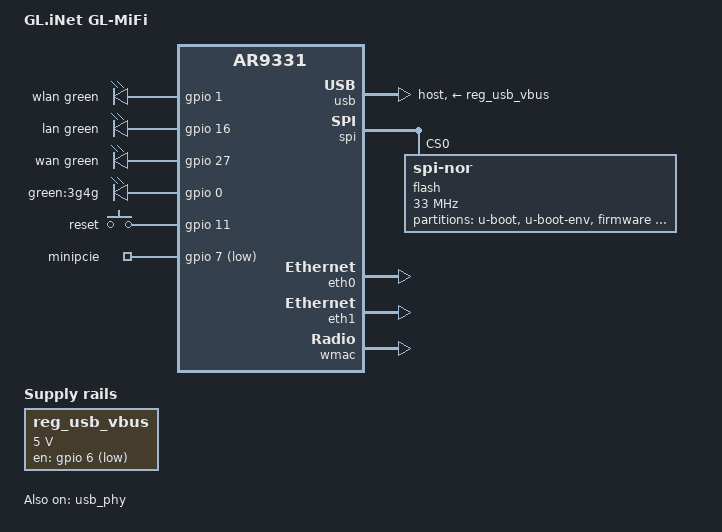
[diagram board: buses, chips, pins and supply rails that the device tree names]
// SPDX-License-Identifier: GPL-2.0-or-later OR MIT

#include "ar9331.dtsi"

#include <dt-bindings/gpio/gpio.h>
#include <dt-bindings/input/input.h>
#include <dt-bindings/leds/common.h>

/ {
	compatible = "glinet,gl-mifi", "qca,ar9331";
	model = "GL.iNet GL-MiFi";

	aliases {
		label-mac-device = &eth0;
	};

	leds {
		compatible = "gpio-leds";

		wlan {
			function = LED_FUNCTION_WLAN;
			color = <LED_COLOR_ID_GREEN>;
			gpios = <&gpio 1 GPIO_ACTIVE_HIGH>;
			linux,default-trigger = "phy0tpt";
		};

		lan {
			function = LED_FUNCTION_LAN;
			color = <LED_COLOR_ID_GREEN>;
			gpios = <&gpio 16 GPIO_ACTIVE_HIGH>;
		};

		wan {
			function = LED_FUNCTION_WAN;
			color = <LED_COLOR_ID_GREEN>;
			gpios = <&gpio 27 GPIO_ACTIVE_HIGH>;
		};

		3g4g {
			label = "green:3g4g";
			gpios = <&gpio 0 GPIO_ACTIVE_HIGH>;
		};
	};

	keys {
		compatible = "gpio-keys";

		reset {
			label = "reset";
			linux,code = <KEY_RESTART>;
			gpios = <&gpio 11 GPIO_ACTIVE_HIGH>;
			debounce-interval = <60>;
		};
	};

	reg_usb_vbus: reg_usb_vbus {
		compatible = "regulator-fixed";
		regulator-name = "usb_vbus";
		regulator-min-microvolt = <5000000>;
		regulator-max-microvolt = <5000000>;
		gpios = <&gpio 6 GPIO_ACTIVE_LOW>;
	};

	gpio-export {
		compatible = "gpio-export";

		minipcie {
			gpio-export,name = "minipcie";
			gpio-export,output = <0>;
			gpios = <&gpio 7 GPIO_ACTIVE_LOW>;
		};
	};
};

&usb {
	status = "okay";

	dr_mode = "host";
	vbus-supply = <&reg_usb_vbus>;
};

&usb_phy {
	status = "okay";
};

&spi {
	status = "okay";

	flash@0 {
		compatible = "jedec,spi-nor";
		spi-max-frequency = <33000000>;
		reg = <0>;

		partitions {
			compatible = "fixed-partitions";
			#address-cells = <1>;
			#size-cells = <1>;

			partition@0 {
				label = "u-boot";
				reg = <0x000000 0x040000>;
				read-only;
			};

			partition@40000 {
				label = "u-boot-env";
				reg = <0x040000 0x010000>;
			};

			partition@50000 {
				compatible = "denx,uimage";
				label = "firmware";
				reg = <0x050000 0xfa0000>;
			};

			partition@ff0000 {
				label = "art";
				reg = <0xff0000 0x010000>;
				read-only;

				nvmem-layout {
					compatible = "fixed-layout";
					#address-cells = <1>;
					#size-cells = <1>;

					macaddr_art_0: macaddr@0 {
						reg = <0x0 0x6>;
					};

					cal_art_1000: calibration@1000 {
						reg = <0x1000 0x440>;
					};
				};
			};
		};
	};
};

&eth0 {
	status = "okay";

	nvmem-cells = <&macaddr_art_0>;
	nvmem-cell-names = "mac-address";

	gmac-config {
		device = <&gmac>;

		switch-phy-addr-swap = <0>;
		switch-phy-swap = <0>;
	};
};

&eth1 {
	status = "okay";

	nvmem-cells = <&macaddr_art_0>;
	nvmem-cell-names = "mac-address";
};

&wmac {
	status = "okay";

	nvmem-cells = <&cal_art_1000>;
	nvmem-cell-names = "calibration";
};
